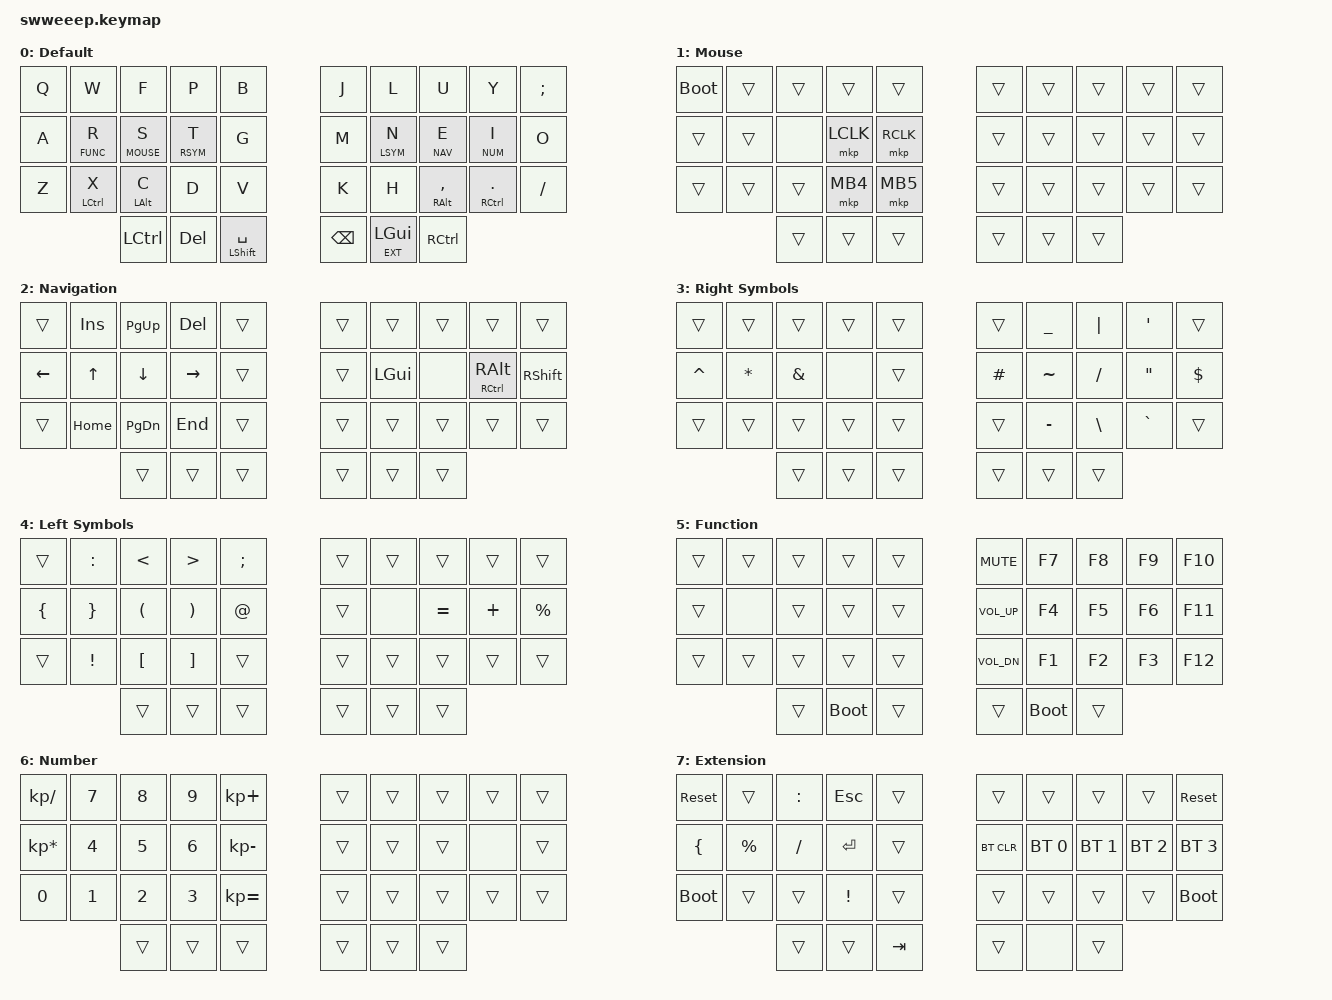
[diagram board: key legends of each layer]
#include <behaviors.dtsi>
#include <dt-bindings/zmk/keys.h>
#include <dt-bindings/zmk/bt.h>
#include <dt-bindings/zmk/outputs.h>
#include <dt-bindings/zmk/mouse.h>

#define DEFAULT 0
#define MOUSE	1
#define NAV     2
#define RSYM    3
#define LSYM	4
#define FUNC    5
#define NUM   	6
#define EXT  	7

&caps_word {
    continue-list = <UNDERSCORE MINUS>;
};

/ {
    combos {
        compatible = "zmk,combos";
        combo_undo {
            timeout-ms = <50>;
            key-positions = <20 21>;
            bindings = <&kp LC(Z)>;
        };
        combo_q {
            timeout-ms = <50>;
            key-positions = <21 22>;
            bindings = <&kp Q>;
        };
        combo_semicolon {
            timeout-ms = <50>;
            key-positions = <27 28>;
            bindings = <&kp SEMI>;
        };
    };
};

/ {

    behaviors {
        hm: homerow_mods {
            compatible = "zmk,behavior-hold-tap";
            label = "HOMEROW_MODS";
            #binding-cells = <2>;
            tapping-term-ms = <200>;
            quick_tap_ms = <0>;
            flavor = "balanced";
            bindings = <&kp>, <&kp>;
        };
        hs: homerow_shift {
            compatible = "zmk,behavior-hold-tap";
            label = "HOMEROW_SHIFT";
            #binding-cells = <2>;
            tapping-term-ms = <175>;
            quick_tap_ms = <0>;
            flavor = "balanced";
            bindings = <&kp>, <&kp>;
        };
    };

    keymap {
        compatible = "zmk,keymap";

        default_layer {
            label = "Default";

            bindings = <
    &kp Q	&kp W        	&kp F  		&kp P		&kp B            					&kp J         	&kp L        	&kp U		&kp Y       	&kp SEMI
    &kp A	&lt FUNC R  	&lt MOUSE S 	&lt RSYM T 	&kp G                					&kp M    	&lt LSYM N 	&lt NAV E 	&lt NUM I	&kp O
    &kp Z      	&hm LCTRL X    	&hm LALT C    	&kp D 		&kp V                					&kp K     	&kp H        	&hm RALT COMMA	&hm RCTRL DOT	&kp FSLH
                                        	&kp LCTRL 	&kp DELETE	&hm LSHIFT SPACE	&kp BSPC	&lt EXT LGUI	&kp RCTRL
            >;
        };

        mouse_layer {
            label = "Mouse";

            bindings = <
    &bootloader &trans      &trans	&trans      &trans                                           &trans      &trans      &trans      &trans      &trans
    &trans      &trans      &none  	&mkp LCLK   &mkp RCLK                                        &trans      &trans      &trans      &trans      &trans
    &trans      &trans      &trans      &mkp MB4    &mkp MB5                                         &trans      &trans      &trans      &trans      &trans
                                        &trans      &trans          &trans           &trans          &trans      &trans
            >;
        };

        nav_layer {
            label = "Navigation";

            bindings = <
    &trans    &kp INSERT      &kp PG_UP       	&kp DELETE      &trans                                          &trans          &trans       &trans     &trans          &trans
    &kp LEFT  &kp UP          &kp DOWN        	&kp RIGHT       &trans                                          &trans          &kp LGUI     &none      &mt RCTRL RALT  &kp RSHIFT
    &trans    &kp HOME        &kp PG_DN		&kp END         &trans                                          &trans          &trans       &trans     &trans          &trans
                 		 	 	&trans          &trans          &trans           &trans         &trans 		&trans
            >;
        };

        rsym_layer {
            label = "Right Symbols";

            bindings = <
    &trans      &trans		&trans		&trans          &trans                                          &trans          &kp UNDER	&kp PIPE	&kp APOS      	&trans
    &kp CARET	&kp STAR	&kp AMPS        &none		&trans                                          &kp HASH	&kp TILDE	&kp SLASH     	&kp DQT		&kp DOLLAR
    &trans      &trans		&trans		&trans		&trans                                          &trans          &kp MINUS	&kp BSLH     	&kp GRAVE	&trans
                                                &trans          &trans          &trans       &trans             &trans          &trans
            >;
        };

        lsym_layer {
            label = "Left Symbols";

            bindings = <
    &trans      &kp COLON	&kp LT  	&kp GT          &kp SEMI 					&trans          &trans       	&trans        	&trans	        &trans
    &kp LBRC	&kp RBRC        &kp LPAR        &kp RPAR 	&kp AT                                          &trans		&none		&kp EQUAL       &kp PLUS	&kp PERCENT
    &trans      &kp EXCL	&kp LBKT 	&kp RBKT	&trans                                          &trans          &trans          &trans    	&trans          &trans
                                                &trans          &trans          &trans       &trans             &trans          &trans
            >;
        };

        func_layer {
            label = "Function";

            bindings = <
    &trans      &trans          &trans          &trans          &trans                                          &kp C_MUTE	&kp F7		&kp F8	        &kp F9 	&kp F10
    &trans	&none	        &trans	        &trans 		&trans                                          &kp C_VOL_UP 	&kp F4		&kp F5		&kp F6	&kp F11
    &trans      &trans          &trans          &trans          &trans                                          &kp C_VOL_DN	&kp F1          &kp F2       	&kp F3 	&kp F12
                                                &trans		&bootloader	&trans       &trans             &bootloader	&trans
            >;
        };

        num_layer {
            label = "Number";

            bindings = <
    &kp KP_DIVIDE 	&kp N7	&kp N8 	&kp N9 	&kp KP_PLUS                  			&trans          &trans          &trans          &trans	&trans
    &kp KP_MULTIPLY	&kp N4  &kp N5	&kp N6  &kp KP_MINUS               			&trans          &trans       	&trans  	&none 	&trans
    &kp N0		&kp N1	&kp N2	&kp N3	&kp KP_EQUAL       				&trans          &trans          &trans          &trans	&trans
                              		&trans	&trans          &trans       &trans             &trans          &trans
            >;
        };

        ext_layer {
            label = "Extension";

            bindings = <
    &sys_reset  &trans		&kp COLON       &kp ESC		&trans		                		&trans          &trans          &trans          &trans		&sys_reset
    &kp LBRC    &kp PERCENT 	&kp SLASH       &kp ENTER       &trans		                      		&bt BT_CLR 	&bt BT_SEL 0 	&bt BT_SEL 1	&bt BT_SEL 2 	&bt BT_SEL 3
    &bootloader	&trans		&trans		&kp EXCL	&trans                                    	&trans          &trans          &trans          &trans  	&bootloader
                                                &trans          &trans		 &kp TAB       &trans     	&none    	&trans
            >;
        };
    };
};
